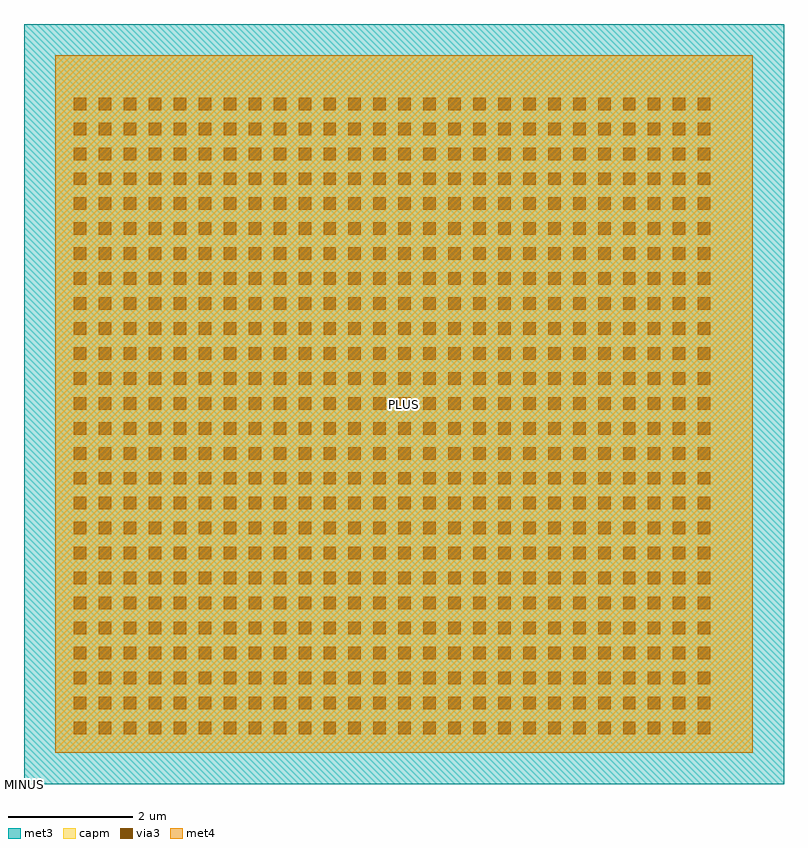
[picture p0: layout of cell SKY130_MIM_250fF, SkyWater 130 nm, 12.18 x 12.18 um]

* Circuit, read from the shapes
.subckt SKY130_MIM_250fF MINUS PLUS
XC1 PLUS MINUS sky130_fd_pr__cap_mim_m3_1 w=11.18 l=11.18
.ends

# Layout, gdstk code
import gdstk
lib = gdstk.Library(unit=1e-6, precision=1e-09)
def R(c, l, rs):  # rectangles x0, y0, x1, y1
    for r in rs: c.add(gdstk.rectangle(r[:2], r[2:], *l))
def A(c, l, x, y, w, h, nx, ny, dx, dy):  # array of equal rectangles
    R(c, l, [(x+i*dx, y+j*dy, x+i*dx+w, y+j*dy+h) for i in range(nx) for j in range(ny)])
met3 = (70, 20)
via3 = (70, 44)
met4 = (71, 20)
capm = (89, 44)

sky130_mim_250ff = lib.new_cell('SKY130_MIM_250fF')
R(sky130_mim_250ff, met3, [(-0.5,-0.5,11.68,11.68)])
A(sky130_mim_250ff, via3, 0.3, 0.3, 0.2, 0.2, 26, 26, 0.4, 0.4)
R(sky130_mim_250ff, met4, [(0,0,11.18,11.18)])
R(sky130_mim_250ff, capm, [(0,0,11.18,11.18)])
sky130_mim_250ff.add(gdstk.Label('MINUS', (-0.5,-0.5), layer=70, texttype=5))
sky130_mim_250ff.add(gdstk.Label('PLUS', (5.59,5.59), layer=71, texttype=5))

lib.write_gds('SKY130_MIM_250fF.gds')
